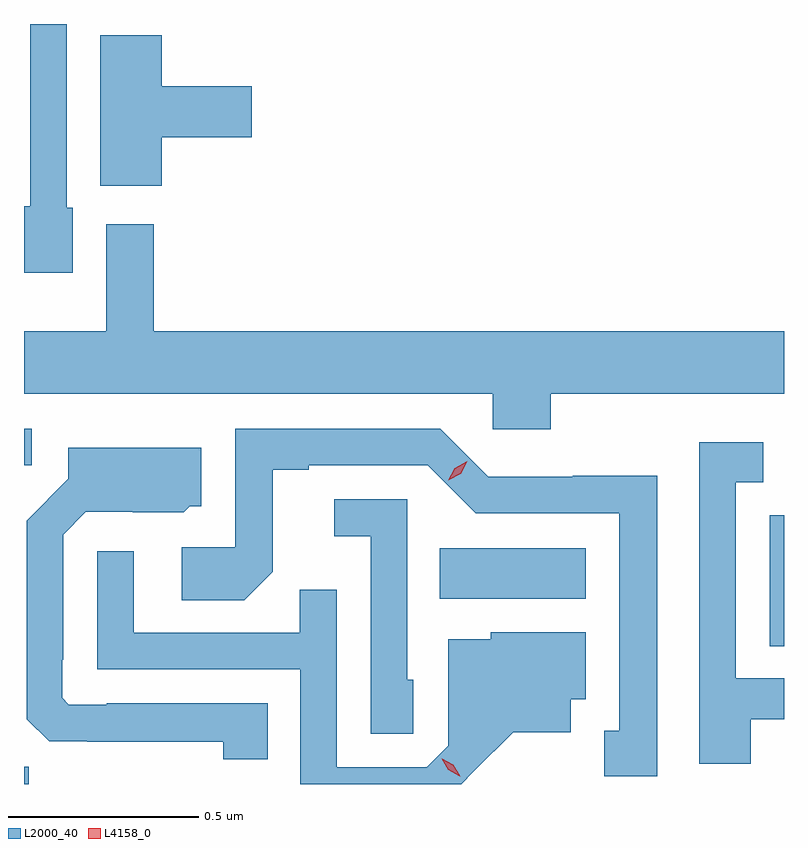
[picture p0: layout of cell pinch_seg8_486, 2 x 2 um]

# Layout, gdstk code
import gdstk
lib = gdstk.Library(unit=1e-6, precision=1e-09)
def R(c, l, rs):  # rectangles x0, y0, x1, y1
    for r in rs: c.add(gdstk.rectangle(r[:2], r[2:], *l))
def P(c, l, *ps):  # polygons
    for p in ps: c.add(gdstk.Polygon(p, *l))
L2000_40 = (2000, 40)
L4158_0 = (4158, 0)

pinch_seg8_486 = lib.new_cell('pinch_seg8_486')
R(pinch_seg8_486, L2000_40, [(185.114,1135.453,185.127,1135.499), (187.076,1135.816,187.114,1136.16), (186.208,1135.94,186.592,1136.074), (185.114,1136.292,185.134,1136.388)])
P(pinch_seg8_486, L2000_40, [(185.242,1136.97),(185.226,1136.97),(185.226,1137.453),(185.13,1137.453),(185.13,1136.974),(185.114,1136.974),(185.114,1136.798),(185.242,1136.798)],
  [(185.477,1137.155),(185.713,1137.155),(185.713,1137.289),(185.477,1137.289),(185.477,1137.424),(185.315,1137.424),(185.315,1137.027),(185.477,1137.027)],
  [(186.5,1136.48),(187.114,1136.48),(187.114,1136.644),(185.456,1136.644),(185.456,1136.926),(185.33,1136.926),(185.33,1136.644),(185.114,1136.644),(185.114,1136.48),(186.348,1136.48),(186.348,1136.387),(186.5,1136.387)],
  [(186.781,1136.264),(186.558,1136.264),(186.558,1136.262),(186.336,1136.262),(186.21,1136.388),(185.67,1136.388),(185.67,1136.076),(185.529,1136.076),(185.529,1135.936),(185.693,1135.936),(185.769,1136.012),(185.769,1136.28),(185.863,1136.28),(185.863,1136.292),(186.177,1136.292),(186.303,1136.166),(186.68,1136.166),(186.68,1135.593),(186.641,1135.593),(186.641,1135.473),(186.781,1135.473)],
  [(187.027,1135.623),(187.114,1135.623),(187.114,1135.731),(186.987,1135.731),(186.987,1136.247),(187.06,1136.247),(187.06,1136.353),(186.891,1136.353),(186.891,1135.506),(187.027,1135.506)],
  [(185.756,1135.665),(185.332,1135.665),(185.332,1135.662),(185.232,1135.662),(185.214,1135.68),(185.214,1135.78),(185.217,1135.78),(185.217,1136.109),(185.277,1136.169),(185.4,1136.169),(185.4,1136.168),(185.534,1136.168),(185.55,1136.184),(185.581,1136.184),(185.581,1136.338),(185.231,1136.338),(185.231,1136.256),(185.121,1136.146),(185.121,1135.624),(185.18,1135.565),(185.281,1135.565),(185.281,1135.564),(185.638,1135.564),(185.638,1135.518),(185.756,1135.518)],
  [(186.138,1135.728),(186.123,1135.728),(186.123,1136.202),(185.931,1136.202),(185.931,1136.105),(186.027,1136.105),(186.027,1135.585),(186.138,1135.585)],
  [(186.298,1135.487),(186.401,1135.589),(186.553,1135.589),(186.553,1135.676),(186.592,1135.676),(186.592,1135.852),(186.342,1135.852),(186.342,1135.834),(186.231,1135.834),(186.231,1135.554),(186.174,1135.497),(185.937,1135.497),(185.937,1135.964),(185.839,1135.964),(185.839,1135.851),(185.403,1135.851),(185.403,1136.065),(185.307,1136.065),(185.307,1135.755),(185.841,1135.755),(185.841,1135.453),(186.264,1135.453)])
P(pinch_seg8_486, L4158_0, [(186.231,1136.252),(186.231,1136.252),(186.248,1136.284),(186.28,1136.303),(186.281,1136.303),(186.281,1136.303),(186.263,1136.27),(186.231,1136.252)],
  [(186.261,1135.474),(186.23,1135.49),(186.213,1135.52),(186.213,1135.52),(186.214,1135.52),(186.244,1135.504),(186.262,1135.474),(186.262,1135.474)])

lib.write_gds('pinch_seg8_486.gds')
